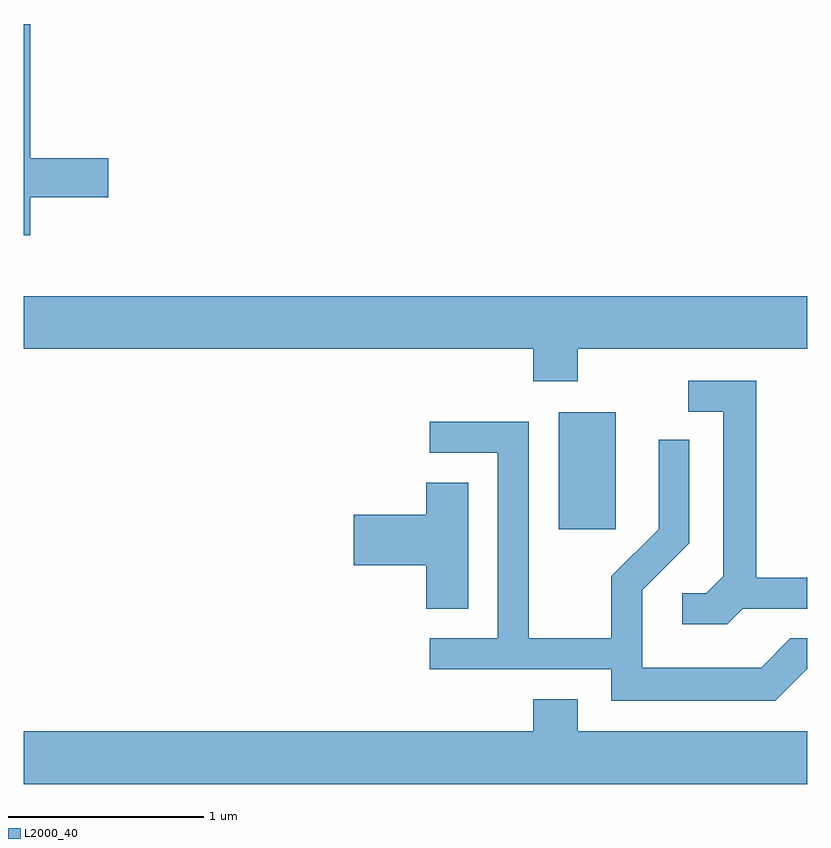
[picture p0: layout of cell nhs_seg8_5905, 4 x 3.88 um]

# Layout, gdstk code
import gdstk
lib = gdstk.Library(unit=1e-6, precision=1e-09)
def R(c, l, rs):  # rectangles x0, y0, x1, y1
    for r in rs: c.add(gdstk.rectangle(r[:2], r[2:], *l))
def P(c, l, *ps):  # polygons
    for p in ps: c.add(gdstk.Polygon(p, *l))
L2000_40 = (2000, 40)

nhs_seg8_5905 = lib.new_cell('nhs_seg8_5905')
R(nhs_seg8_5905, L2000_40, [(364.341,1897.656,364.634,1898.254)])
P(nhs_seg8_5905, L2000_40, [(361.644,1899.351),(362.044,1899.351),(362.044,1899.549),(361.644,1899.549),(361.644,1900.234),(361.611,1900.234),(361.611,1899.156),(361.644,1899.156)],
  [(364.439,1898.576),(365.611,1898.576),(365.611,1898.844),(361.611,1898.844),(361.611,1898.576),(364.211,1898.576),(364.211,1898.411),(364.439,1898.411)],
  [(365.282,1897.251),(365.611,1897.251),(365.611,1897.409),(365.349,1897.409),(365.349,1898.414),(365.003,1898.414),(365.003,1898.256),(365.181,1898.256),(365.181,1897.417),(365.094,1897.329),(364.973,1897.329),(364.973,1897.171),(365.202,1897.171)],
  [(365.607,1896.941),(365.611,1896.941),(365.611,1897.099),(365.524,1897.099),(365.374,1896.949),(364.769,1896.949),(364.769,1897.344),(365.009,1897.584),(365.009,1898.113),(364.851,1898.113),(364.851,1897.657),(364.611,1897.417),(364.611,1897.099),(364.189,1897.099),(364.189,1898.204),(363.683,1898.204),(363.683,1898.046),(364.031,1898.046),(364.031,1897.099),(363.683,1897.099),(363.683,1896.941),(364.611,1896.941),(364.611,1896.781),(365.447,1896.781)],
  [(363.879,1897.894),(363.666,1897.894),(363.666,1897.729),(363.296,1897.729),(363.296,1897.471),(363.666,1897.471),(363.666,1897.251),(363.879,1897.251)],
  [(365.611,1896.624),(364.439,1896.624),(364.439,1896.789),(364.211,1896.789),(364.211,1896.624),(361.611,1896.624),(361.611,1896.356),(365.611,1896.356)])

lib.write_gds('nhs_seg8_5905.gds')
